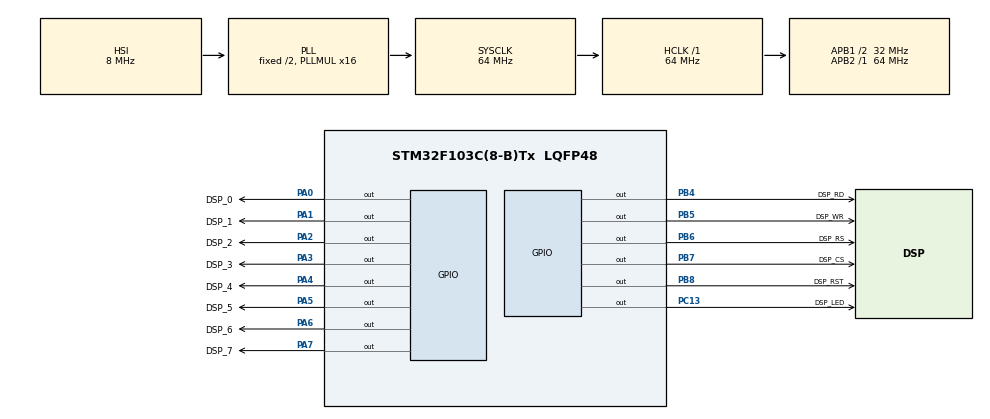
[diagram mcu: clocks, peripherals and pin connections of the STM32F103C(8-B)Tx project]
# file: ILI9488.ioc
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Mcu.Family=STM32F1
Mcu.Name=STM32F103C(8-B)Tx
Mcu.Package=LQFP48
NVIC.PriorityGroup=NVIC_PRIORITYGROUP_4
PA0-WKUP.GPIO_Label=DSP_0
PA0-WKUP.GPIO_ModeDefaultOutputPP=GPIO_MODE_OUTPUT_PP
PA0-WKUP.GPIO_Speed=GPIO_SPEED_FREQ_HIGH
PA0-WKUP.PinState=GPIO_PIN_RESET
PA0-WKUP.Signal=GPIO_Output
PA1.GPIO_Label=DSP_1
PA1.GPIO_ModeDefaultOutputPP=GPIO_MODE_OUTPUT_PP
PA1.GPIO_Speed=GPIO_SPEED_FREQ_HIGH
PA1.PinState=GPIO_PIN_RESET
PA1.Signal=GPIO_Output
PA13.Mode=Serial_Wire
PA13.Signal=SYS_JTMS-SWDIO
PA14.Mode=Serial_Wire
PA14.Signal=SYS_JTCK-SWCLK
PA2.GPIO_Label=DSP_2
PA2.GPIO_ModeDefaultOutputPP=GPIO_MODE_OUTPUT_PP
PA2.GPIO_Speed=GPIO_SPEED_FREQ_HIGH
PA2.PinState=GPIO_PIN_RESET
PA2.Signal=GPIO_Output
PA3.GPIO_Label=DSP_3
PA3.GPIO_ModeDefaultOutputPP=GPIO_MODE_OUTPUT_PP
PA3.GPIO_Speed=GPIO_SPEED_FREQ_HIGH
PA3.PinState=GPIO_PIN_RESET
PA3.Signal=GPIO_Output
PA4.GPIO_Label=DSP_4
PA4.GPIO_ModeDefaultOutputPP=GPIO_MODE_OUTPUT_PP
PA4.GPIO_Speed=GPIO_SPEED_FREQ_HIGH
PA4.PinState=GPIO_PIN_RESET
PA4.Signal=GPIO_Output
PA5.GPIO_Label=DSP_5
PA5.GPIO_ModeDefaultOutputPP=GPIO_MODE_OUTPUT_PP
PA5.GPIO_Speed=GPIO_SPEED_FREQ_HIGH
PA5.PinState=GPIO_PIN_RESET
PA5.Signal=GPIO_Output
PA6.GPIO_Label=DSP_6
PA6.GPIO_ModeDefaultOutputPP=GPIO_MODE_OUTPUT_PP
PA6.GPIO_Speed=GPIO_SPEED_FREQ_HIGH
PA6.PinState=GPIO_PIN_RESET
PA6.Signal=GPIO_Output
PA7.GPIO_Label=DSP_7
PA7.GPIO_ModeDefaultOutputPP=GPIO_MODE_OUTPUT_PP
PA7.GPIO_Speed=GPIO_SPEED_FREQ_HIGH
PA7.PinState=GPIO_PIN_RESET
PA7.Signal=GPIO_Output
PB4.GPIO_Label=DSP_RD
PB4.GPIO_ModeDefaultOutputPP=GPIO_MODE_OUTPUT_PP
PB4.GPIO_Speed=GPIO_SPEED_FREQ_HIGH
PB4.PinState=GPIO_PIN_RESET
PB4.Signal=GPIO_Output
PB5.GPIO_Label=DSP_WR
PB5.GPIO_ModeDefaultOutputPP=GPIO_MODE_OUTPUT_PP
PB5.GPIO_Speed=GPIO_SPEED_FREQ_HIGH
PB5.PinState=GPIO_PIN_RESET
PB5.Signal=GPIO_Output
PB6.GPIO_Label=DSP_RS
PB6.GPIO_ModeDefaultOutputPP=GPIO_MODE_OUTPUT_PP
PB6.GPIO_Speed=GPIO_SPEED_FREQ_HIGH
PB6.PinState=GPIO_PIN_RESET
PB6.Signal=GPIO_Output
PB7.GPIO_Label=DSP_CS
PB7.GPIO_ModeDefaultOutputPP=GPIO_MODE_OUTPUT_PP
PB7.GPIO_Speed=GPIO_SPEED_FREQ_HIGH
PB7.PinState=GPIO_PIN_RESET
PB7.Signal=GPIO_Output
PB8.GPIO_Label=DSP_RST
PB8.GPIO_ModeDefaultOutputPP=GPIO_MODE_OUTPUT_PP
PB8.GPIO_Speed=GPIO_SPEED_FREQ_HIGH
PB8.PinState=GPIO_PIN_RESET
PB8.Signal=GPIO_Output
PC13-TAMPER-RTC.GPIO_Label=DSP_LED
PC13-TAMPER-RTC.GPIO_ModeDefaultOutputPP=GPIO_MODE_OUTPUT_PP
PC13-TAMPER-RTC.GPIO_Speed=GPIO_SPEED_FREQ_HIGH
PC13-TAMPER-RTC.PinState=GPIO_PIN_RESET
PC13-TAMPER-RTC.Signal=GPIO_Output
ProjectManager.HeapSize=0x200
ProjectManager.StackSize=0x400
ProjectManager.TargetToolchain=Makefile
RCC.AHBFreq_Value=64000000
RCC.APB1CLKDivider=RCC_HCLK_DIV2
RCC.APB1Freq_Value=32000000
RCC.APB1TimFreq_Value=64000000
RCC.APB2Freq_Value=64000000
RCC.APB2TimFreq_Value=64000000
RCC.HCLKFreq_Value=64000000
RCC.PLLMUL=RCC_PLL_MUL16
RCC.SYSCLKFreq_VALUE=64000000
RCC.SYSCLKSource=RCC_SYSCLKSOURCE_PLLCLK
RCC.USBFreq_Value=64000000
board=ILI9488

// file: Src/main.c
/**
  ******************************************************************************
  * File Name          : main.c
  * Description        : Main program body
  ******************************************************************************
  ** This notice applies to any and all portions of this file
  * that are not between comment pairs USER CODE BEGIN and
  * USER CODE END. Other portions of this file, whether
  * inserted by the user or by software development tools
  * are owned by their respective copyright owners.
  *
  * COPYRIGHT(c) 2017 STMicroelectronics
  *
  * Redistribution and use in source and binary forms, with or without modification,
  * are permitted provided that the following conditions are met:
  *   1. Redistributions of source code must retain the above copyright notice,
  *      this list of conditions and the following disclaimer.
  *   2. Redistributions in binary form must reproduce the above copyright notice,
  *      this list of conditions and the following disclaimer in the documentation
  *      and/or other materials provided with the distribution.
  *   3. Neither the name of STMicroelectronics nor the names of its contributors
  *      may be used to endorse or promote products derived from this software
  *      without specific prior written permission.
  *
  * THIS SOFTWARE IS PROVIDED BY THE COPYRIGHT HOLDERS AND CONTRIBUTORS "AS IS"
  * AND ANY EXPRESS OR IMPLIED WARRANTIES, INCLUDING, BUT NOT LIMITED TO, THE
  * IMPLIED WARRANTIES OF MERCHANTABILITY AND FITNESS FOR A PARTICULAR PURPOSE ARE
  * DISCLAIMED. IN NO EVENT SHALL THE COPYRIGHT HOLDER OR CONTRIBUTORS BE LIABLE
  * FOR ANY DIRECT, INDIRECT, INCIDENTAL, SPECIAL, EXEMPLARY, OR CONSEQUENTIAL
  * DAMAGES (INCLUDING, BUT NOT LIMITED TO, PROCUREMENT OF SUBSTITUTE GOODS OR
  * SERVICES; LOSS OF USE, DATA, OR PROFITS; OR BUSINESS INTERRUPTION) HOWEVER
  * CAUSED AND ON ANY THEORY OF LIABILITY, WHETHER IN CONTRACT, STRICT LIABILITY,
  * OR TORT (INCLUDING NEGLIGENCE OR OTHERWISE) ARISING IN ANY WAY OUT OF THE USE
  * OF THIS SOFTWARE, EVEN IF ADVISED OF THE POSSIBILITY OF SUCH DAMAGE.
  *
  ******************************************************************************
  */
#include "main.h"
#include "stm32f1xx_hal.h"
#include "gpio.h"

/* USER CODE BEGIN Includes */
#include <math.h>
#include "tft9488.h"
// #include "itoa.h"
// #include "myimage.h"

#define M_PI 3.14159
/* USER CODE END Includes */

/* USER CODE BEGIN PV */
/* Private variables ---------------------------------------------------------*/
extern uint16_t BACK_COLOR,POINT_COLOR;
extern uint16_t tft_W;
extern uint16_t tft_H;
/* USER CODE END PV */

void SystemClock_Config(void);

/* USER CODE BEGIN PFP */
/* Private function prototypes -----------------------------------------------*/

/* USER CODE END PFP */

int main(void)
{

  /* MCU Configuration----------------------------------------------------------*/

  /* Reset of all peripherals, Initializes the Flash interface and the Systick. */
  HAL_Init();

  /* Configure the system clock */
  SystemClock_Config();

  /* Initialize all configured peripherals */
  MX_GPIO_Init();

  /* USER CODE BEGIN 2 */
  tft_init();
  tft_SetRotation(1);
  tft_clear(COLOR_BLACK);
  tft_draw_circle(tft_H/2,tft_W/2,130,COLOR_VIOLET);
  tft_draw_rectangle(tft_H-20,0,tft_H,tft_W,COLOR_RED);
  tft_fill(tft_H-19,1,tft_H-1,tft_W-1,COLOR_YELLOW);

  BACK_COLOR=COLOR_RED;
  POINT_COLOR=COLOR_GREEN;

  tft_puts14x24(tft_H/10,tft_W-100,(int8_t*)"STM32",TFT_STRING_MODE_NO_BACKGROUND);
  POINT_COLOR=COLOR_CYAN;
  tft_puts26x48(tft_H/12,10,(int8_t*)"STM32",TFT_STRING_MODE_NO_BACKGROUND);

  POINT_COLOR=COLOR_BLUE;
  tft_putchar(tft_W/2,20,'A',TFT_STRING_MODE_NO_BACKGROUND);
  for(uint16_t i = 20; i<tft_W; i+=32) tft_draw_line_slim( i, 20, i, tft_H-20, COLOR_GRAYBLUE); //draw vertical lines
  for(uint16_t i = 20; i<tft_H; i+=32) tft_draw_line_slim( 20, i, tft_W-20, i, COLOR_GRAYBLUE); //draw horizontal lines

  uint16_t array_sin[tft_W];
  uint16_t array_cos[tft_W];
  for(uint16_t i = 0; i < tft_W; i++) // count point
  {
    array_cos[i]=(uint16_t)96*cos(30*0.2*M_PI*i/180)+180;
    array_sin[i]=(uint16_t)96*sin(30*0.1*M_PI*i/180)+180;
  }

  for(uint16_t i = 1; i < tft_W; i++)
  {
    tft_draw_line_bold(i, array_cos[i],i-1,array_cos[i-1], COLOR_GREEN);
    tft_draw_line_bold(i, array_sin[i],i-1,array_sin[i-1], COLOR_YELLOW);
  }

  /* USER CODE END 2 */

  /* Infinite loop */
  while (1)
  {

  }

}

/** System Clock Configuration
*/
void SystemClock_Config(void)
{

  RCC_OscInitTypeDef RCC_OscInitStruct;
  RCC_ClkInitTypeDef RCC_ClkInitStruct;

    /**Initializes the CPU, AHB and APB busses clocks
    */
  RCC_OscInitStruct.OscillatorType = RCC_OSCILLATORTYPE_HSI;
  RCC_OscInitStruct.HSIState = RCC_HSI_ON;
  RCC_OscInitStruct.HSICalibrationValue = 16;
  RCC_OscInitStruct.PLL.PLLState = RCC_PLL_ON;
  RCC_OscInitStruct.PLL.PLLSource = RCC_PLLSOURCE_HSI_DIV2;
  RCC_OscInitStruct.PLL.PLLMUL = RCC_PLL_MUL16;
  if (HAL_RCC_OscConfig(&RCC_OscInitStruct) != HAL_OK)
  {
    _Error_Handler(__FILE__, __LINE__);
  }

    /**Initializes the CPU, AHB and APB busses clocks
    */
  RCC_ClkInitStruct.ClockType = RCC_CLOCKTYPE_HCLK|RCC_CLOCKTYPE_SYSCLK
                              |RCC_CLOCKTYPE_PCLK1|RCC_CLOCKTYPE_PCLK2;
  RCC_ClkInitStruct.SYSCLKSource = RCC_SYSCLKSOURCE_PLLCLK;
  RCC_ClkInitStruct.AHBCLKDivider = RCC_SYSCLK_DIV1;
  RCC_ClkInitStruct.APB1CLKDivider = RCC_HCLK_DIV2;
  RCC_ClkInitStruct.APB2CLKDivider = RCC_HCLK_DIV1;

  if (HAL_RCC_ClockConfig(&RCC_ClkInitStruct, FLASH_LATENCY_2) != HAL_OK)
  {
    _Error_Handler(__FILE__, __LINE__);
  }

    /**Configure the Systick interrupt time
    */
  HAL_SYSTICK_Config(HAL_RCC_GetHCLKFreq()/1000);

    /**Configure the Systick
    */
  HAL_SYSTICK_CLKSourceConfig(SYSTICK_CLKSOURCE_HCLK);

  /* SysTick_IRQn interrupt configuration */
  HAL_NVIC_SetPriority(SysTick_IRQn, 0, 0);
}

void _Error_Handler(char * file, int line)
{
  while(1)
  {
  }
}

/************************ (C) COPYRIGHT STMicroelectronics *****END OF FILE****/
